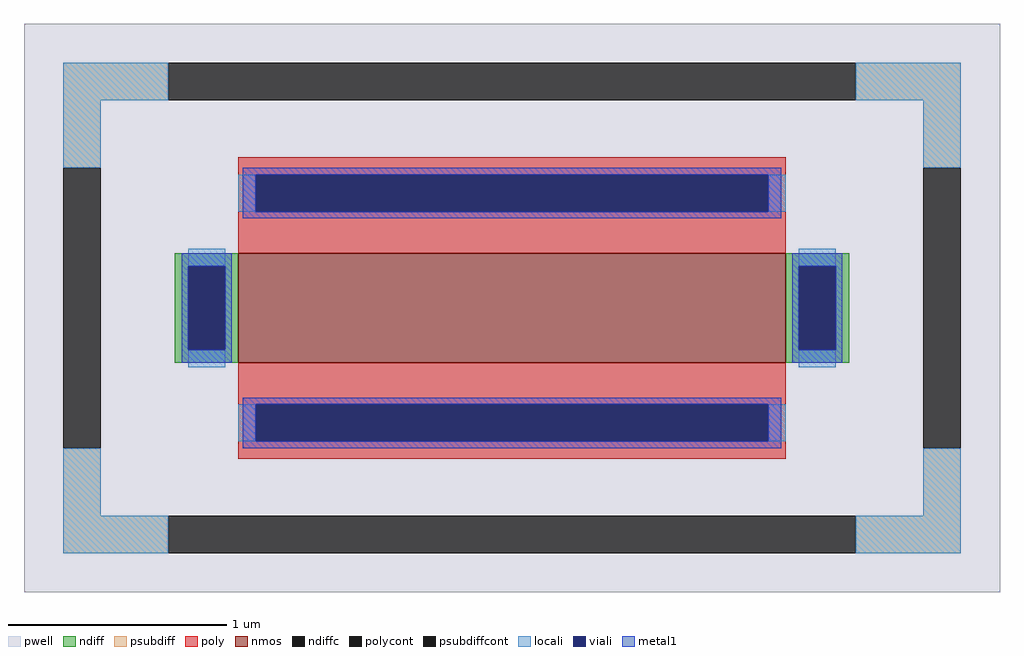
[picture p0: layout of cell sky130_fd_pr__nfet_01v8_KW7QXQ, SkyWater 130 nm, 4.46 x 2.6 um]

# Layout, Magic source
magic
tech sky130A
<< pwell >>
rect -223 -130 223 130
<< nmos >>
rect -125 -25 125 25
<< ndiff >>
rect -154 19 -125 25
rect -154 -19 -148 19
rect -131 -19 -125 19
rect -154 -25 -125 -19
rect 125 19 154 25
rect 125 -19 131 19
rect 148 -19 154 19
rect 125 -25 154 -19
<< ndiffc >>
rect -148 -19 -131 19
rect 131 -19 148 19
<< psubdiff >>
rect -205 95 -157 112
rect 157 95 205 112
rect -205 64 -188 95
rect 188 64 205 95
rect -205 -95 -188 -64
rect 188 -95 205 -64
rect -205 -112 -157 -95
rect 157 -112 205 -95
<< psubdiffcont >>
rect -157 95 157 112
rect -205 -64 -188 64
rect 188 -64 205 64
rect -157 -112 157 -95
<< poly >>
rect -125 61 125 69
rect -125 44 -117 61
rect 117 44 125 61
rect -125 25 125 44
rect -125 -44 125 -25
rect -125 -61 -117 -44
rect 117 -61 125 -44
rect -125 -69 125 -61
<< polycont >>
rect -117 44 117 61
rect -117 -61 117 -44
<< locali >>
rect -205 95 -157 112
rect 157 95 205 112
rect -205 64 -188 95
rect 188 64 205 95
rect -125 44 -117 61
rect 117 44 125 61
rect -148 19 -131 27
rect -148 -27 -131 -19
rect 131 19 148 27
rect 131 -27 148 -19
rect -125 -61 -117 -44
rect 117 -61 125 -44
rect -205 -95 -188 -64
rect 188 -95 205 -64
rect -205 -112 -157 -95
rect 157 -112 205 -95
<< viali >>
rect -117 44 117 61
rect -148 -19 -131 19
rect 131 -19 148 19
rect -117 -61 117 -44
<< metal1 >>
rect -123 61 123 64
rect -123 44 -117 61
rect 117 44 123 61
rect -123 41 123 44
rect -151 19 -128 25
rect -151 -19 -148 19
rect -131 -19 -128 19
rect -151 -25 -128 -19
rect 128 19 151 25
rect 128 -19 131 19
rect 148 -19 151 19
rect 128 -25 151 -19
rect -123 -44 123 -41
rect -123 -61 -117 -44
rect 117 -61 123 -44
rect -123 -64 123 -61
<< properties >>
string FIXED_BBOX -196 -103 196 103
string gencell sky130_fd_pr__nfet_01v8
string library sky130
string parameters w 0.5 l 2.5 m 1 nf 1 diffcov 100 polycov 100 guard 1 glc 1 grc 1 gtc 1 gbc 1 tbcov 100 rlcov 100 topc 1 botc 1 poverlap 0 doverlap 1 lmin 0.15 wmin 0.42 class mosfet compatible {sky130_fd_pr__nfet_01v8 sky130_fd_pr__nfet_01v8_lvt  sky130_fd_bs_flash__special_sonosfet_star  sky130_fd_pr__nfet_g5v0d10v5 sky130_fd_pr__nfet_05v0_nvt  sky130_fd_pr__nfet_03v3_nvt} full_metal 1 viasrc 100 viadrn 100 viagate 100 viagb 0 viagr 0 viagl 0 viagt 0 ad {int((nf+1)/2) * W/nf * 0.29} as {int((nf+2)/2) * W/nf * 0.29} pd {2*int((nf+1)/2) * (W/nf + 0.29)} ps {2*int((nf+2)/2) * (W/nf + 0.29)} nrd {0.29 / W} nrs {0.29 / W} sa 0 sb 0 sd 0 mult 1
<< end >>
